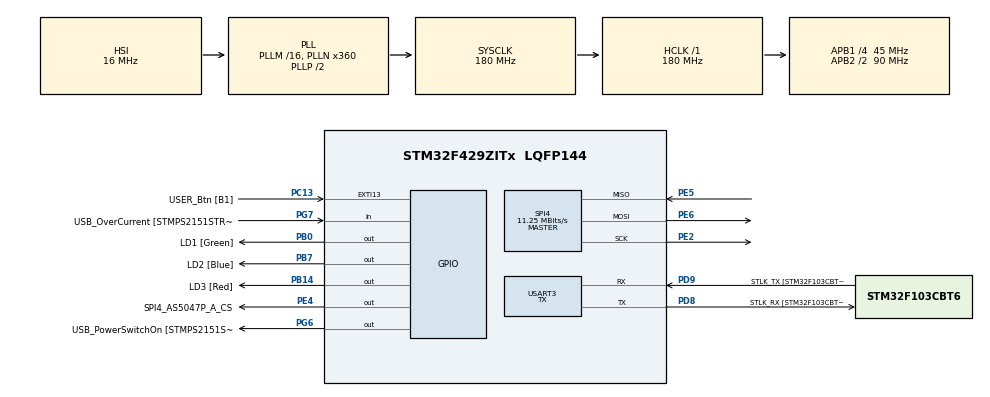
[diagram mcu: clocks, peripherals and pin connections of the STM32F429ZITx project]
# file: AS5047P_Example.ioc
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Mcu.Family=STM32F4
Mcu.Name=STM32F429ZITx
Mcu.Package=LQFP144
NVIC.PriorityGroup=NVIC_PRIORITYGROUP_4
PA1.GPIO_Label=RMII_REF_CLK [LAN8742A-CZ-TR_REFCLK0]
PA1.Signal=ETH_REF_CLK
PA10.GPIO_Label=USB_ID
PA10.Signal=USB_OTG_FS_ID
PA11.GPIO_Label=USB_DM
PA11.Signal=USB_OTG_FS_DM
PA12.GPIO_Label=USB_DP
PA12.Signal=USB_OTG_FS_DP
PA13.GPIO_Label=TMS
PA13.Signal=SYS_JTMS-SWDIO
PA14.GPIO_Label=TCK
PA14.Signal=SYS_JTCK-SWCLK
PA2.GPIO_Label=RMII_MDIO [LAN8742A-CZ-TR_MDIO]
PA2.Signal=ETH_MDIO
PA7.GPIO_Label=RMII_CRS_DV [LAN8742A-CZ-TR_CRS_DV]
PA7.Signal=ETH_CRS_DV
PA8.GPIO_Label=USB_SOF [TP1]
PA8.Signal=USB_OTG_FS_SOF
PA9.GPIO_Label=USB_VBUS
PA9.Signal=USB_OTG_FS_VBUS
PB0.GPIO_Label=LD1 [Green]
PB0.Signal=GPIO_Output
PB13.GPIO_Label=RMII_TXD1 [LAN8742A-CZ-TR_TXD1]
PB13.Signal=ETH_TXD1
PB14.GPIO_Label=LD3 [Red]
PB14.Signal=GPIO_Output
PB7.GPIO_Label=LD2 [Blue]
PB7.Signal=GPIO_Output
PC1.GPIO_Label=RMII_MDC [LAN8742A-CZ-TR_MDC]
PC1.Signal=ETH_MDC
PC13.GPIO_Label=USER_Btn [B1]
PC13.Signal=GPXTI13
PC14/OSC32_IN.Signal=RCC_OSC32_IN
PC15/OSC32_OUT.Signal=RCC_OSC32_OUT
PC4.GPIO_Label=RMII_RXD0 [LAN8742A-CZ-TR_RXD0]
PC4.Signal=ETH_RXD0
PC5.GPIO_Label=RMII_RXD1 [LAN8742A-CZ-TR_RXD1]
PC5.Signal=ETH_RXD1
PD8.GPIO_Label=STLK_RX [STM32F103CBT6_PA3]
PD8.Mode=Asynchronous
PD8.Signal=USART3_TX
PD9.GPIO_Label=STLK_TX [STM32F103CBT6_PA2]
PD9.Mode=Asynchronous
PD9.Signal=USART3_RX
PE2.GPIO_PuPd=GPIO_NOPULL
PE2.GPIO_Speed=GPIO_SPEED_FREQ_VERY_HIGH
PE2.Mode=Full_Duplex_Master
PE2.Signal=SPI4_SCK
PE4.GPIO_Label=SPI4_AS5047P_A_CS
PE4.GPIO_PuPd=GPIO_NOPULL
PE4.GPIO_Speed=GPIO_SPEED_FREQ_VERY_HIGH
PE4.PinState=GPIO_PIN_SET
PE4.Signal=GPIO_Output
PE5.GPIO_PuPd=GPIO_NOPULL
PE5.GPIO_Speed=GPIO_SPEED_FREQ_VERY_HIGH
PE5.Mode=Full_Duplex_Master
PE5.Signal=SPI4_MISO
PE6.GPIO_PuPd=GPIO_NOPULL
PE6.GPIO_Speed=GPIO_SPEED_FREQ_VERY_HIGH
PE6.Mode=Full_Duplex_Master
PE6.Signal=SPI4_MOSI
PG11.GPIO_Label=RMII_TX_EN [LAN8742A-CZ-TR_TXEN]
PG11.Signal=ETH_TX_EN
PG13.GPIO_Label=RMII_TXD0 [LAN8742A-CZ-TR_TXD0]
PG13.Signal=ETH_TXD0
PG6.GPIO_Label=USB_PowerSwitchOn [STMPS2151STR_EN]
PG6.Signal=GPIO_Output
PG7.GPIO_Label=USB_OverCurrent [STMPS2151STR_FAULT]
PG7.Signal=GPIO_Input
PH0/OSC_IN.GPIO_Label=MCO [STM32F103CBT6_PA8]
PH0/OSC_IN.Signal=RCC_OSC_IN
PH1/OSC_OUT.Signal=RCC_OSC_OUT
ProjectManager.HeapSize=0x200
ProjectManager.StackSize=0x400
ProjectManager.TargetToolchain=STM32CubeIDE
RCC.48MHZClocksFreq_Value=90000000
RCC.AHBFreq_Value=180000000
RCC.APB1CLKDivider=RCC_HCLK_DIV4
RCC.APB1Freq_Value=45000000
RCC.APB1TimFreq_Value=90000000
RCC.APB2CLKDivider=RCC_HCLK_DIV2
RCC.APB2Freq_Value=90000000
RCC.APB2TimFreq_Value=180000000
RCC.CortexFreq_Value=180000000
RCC.HCLKFreq_Value=180000000
RCC.HSE_VALUE=8000000
RCC.HSI_VALUE=16000000
RCC.LSE_VALUE=32768
RCC.PLLMUL=RCC_PLL_MUL9
RCC.PLLN=360
RCC.PRESCALERUSB=RCC_USBCLKSOURCE_PLL_DIV1_5
RCC.SYSCLKFreq_VALUE=180000000
RCC.SYSCLKSource=RCC_SYSCLKSOURCE_PLLCLK
RCC.SYSCLKSourceVirtual=RCC_SYSCLKSOURCE_PLLCLK
RCC.USBFreq_Value=48000000
RCC.VCOOutputFreq_Value=360000000
SPI4.BaudRatePrescaler=SPI_BAUDRATEPRESCALER_8
SPI4.CLKPhase=SPI_PHASE_2EDGE
SPI4.CLKPolarity=SPI_POLARITY_LOW
SPI4.CRCCalculation=SPI_CRCCALCULATION_DISABLE
SPI4.CalculateBaudRate=11.25 MBits/s
SPI4.DataSize=SPI_DATASIZE_16BIT
SPI4.Direction=SPI_DIRECTION_2LINES
SPI4.Mode=SPI_MODE_MASTER
SPI4.VirtualType=VM_MASTER
USART3.Mode=MODE_TX
USART3.OverSampling=UART_OVERSAMPLING_8
USART3.VirtualMode=VM_ASYNC
board=NUCLEO-F429ZI

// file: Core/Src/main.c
/* USER CODE BEGIN Header */
/**
  ******************************************************************************
  * @file           : main.c
  * @brief          : Main program body
  ******************************************************************************
  * @attention
  *
  * <h2><center>&copy; Copyright (c) 2020 STMicroelectronics.
  * All rights reserved.</center></h2>
  *
  * This software component is licensed by ST under BSD 3-Clause license,
  * the "License"; You may not use this file except in compliance with the
  * License. You may obtain a copy of the License at:
  *                        opensource.org/licenses/BSD-3-Clause
  *
  ******************************************************************************
  */
/* USER CODE END Header */

#include "main.h"
#include "spi.h"
#include "usart.h"
#include "gpio.h"

/* USER CODE BEGIN Includes */
#include <stdio.h> // printf
#include "as5047p.h"

/* USER CODE END Includes */

/* USER CODE BEGIN PV */

  AS5047P_Instance encInstanceA = {0};
  AS5047P_Result encPositionA;

/* USER CODE END PV */

void SystemClock_Config(void);

/* USER CODE BEGIN 0 */

/************************************************************************************
 *
 * 	Function: 	_write(file,ptr,len)
 * 	Access:		public
 * 	Inputs:		---
 *
 * 	Returns:	---
 *
 * 	Description:
 *	Overloaded function used by printf.
 *
 ************************************************************************************/
int _write(int file, char *ptr, int len)
{

    HAL_UART_Transmit(&huart3, (uint8_t *)ptr, len, HAL_MAX_DELAY);
    return len;
}

/* USER CODE END 0 */

int main(void)
{

  /* MCU Configuration--------------------------------------------------------*/

  /* Reset of all peripherals, Initializes the Flash interface and the Systick. */
  HAL_Init();

  /* Configure the system clock */
  SystemClock_Config();

  /* Initialize all configured peripherals */
  MX_GPIO_Init();
  MX_SPI4_Init();
  MX_USART3_UART_Init();
  /* USER CODE BEGIN 2 */

  //--- Initialize encoder and bind id number to instance.
  AS5047P_Init(&encInstanceA, 0); // Bind encoder with id = 0
  //AS5047P_Init(&encInstanceB, 1); // Bind encoder with id = 1
  //AS5047P_Init(&encInstanceC, 2); // Bind encoder with id = 2 and so on...

  //--- Set registers SETTINGS1, SETTINGS2, ZPOSL, ZPOSM to their factory defaults
  //--- (in this way ignoring OTP memory loaded values).
  AS5047P_SetFactorySettings(&encInstanceA);

  //--- Set current encoder position as new zero (AS5047P_ZPOSL, AS5047P_ZPOSM)
  AS5047P_SetZeroPosition(&encInstanceA);

  /* USER CODE END 2 */

  /* Infinite loop */
   while (1)
   {

    /* USER CODE BEGIN 3 */

     encPositionA = AS5047P_ReadPosition(&encInstanceA, AS5047P_OPT_ENABLED);

     if( !AS5047P_ErrorPending(&encInstanceA) )
     {
	//--- Print current position
	printf("Encoder ID[%d]> Position: %d\n",AS5047P_GetID(&encInstanceA), encPositionA);
     }
     else
     {
	//--- Print error message
	printf("Encoder ID[%d]> Error %d: %s\n",AS5047P_GetID(&encInstanceA),AS5047P_GetError(&encInstanceA).errorCode, AS5047P_GetError(&encInstanceA).msg);
     }

     //--- Acknowledge error if user button pressed
     if( HAL_GPIO_ReadPin(USER_Btn_GPIO_Port, USER_Btn_Pin) )
     {
	 AS5047P_ErrorAck(&encInstanceA);
     }

     //--- Delay 100ms (for printf)
     HAL_Delay(100);

   }
  /* USER CODE END 3 */
}

void SystemClock_Config(void)
{
  RCC_OscInitTypeDef RCC_OscInitStruct = {0};
  RCC_ClkInitTypeDef RCC_ClkInitStruct = {0};

  /** Configure the main internal regulator output voltage
  */
  __HAL_RCC_PWR_CLK_ENABLE();
  __HAL_PWR_VOLTAGESCALING_CONFIG(PWR_REGULATOR_VOLTAGE_SCALE1);
  /** Initializes the CPU, AHB and APB busses clocks
  */
  RCC_OscInitStruct.OscillatorType = RCC_OSCILLATORTYPE_HSI;
  RCC_OscInitStruct.HSIState = RCC_HSI_ON;
  RCC_OscInitStruct.HSICalibrationValue = RCC_HSICALIBRATION_DEFAULT;
  RCC_OscInitStruct.PLL.PLLState = RCC_PLL_ON;
  RCC_OscInitStruct.PLL.PLLSource = RCC_PLLSOURCE_HSI;
  RCC_OscInitStruct.PLL.PLLM = 16;
  RCC_OscInitStruct.PLL.PLLN = 360;
  RCC_OscInitStruct.PLL.PLLP = RCC_PLLP_DIV2;
  RCC_OscInitStruct.PLL.PLLQ = 4;
  if (HAL_RCC_OscConfig(&RCC_OscInitStruct) != HAL_OK)
  {
    Error_Handler();
  }
  /** Activate the Over-Drive mode
  */
  if (HAL_PWREx_EnableOverDrive() != HAL_OK)
  {
    Error_Handler();
  }
  /** Initializes the CPU, AHB and APB busses clocks
  */
  RCC_ClkInitStruct.ClockType = RCC_CLOCKTYPE_HCLK|RCC_CLOCKTYPE_SYSCLK
                              |RCC_CLOCKTYPE_PCLK1|RCC_CLOCKTYPE_PCLK2;
  RCC_ClkInitStruct.SYSCLKSource = RCC_SYSCLKSOURCE_PLLCLK;
  RCC_ClkInitStruct.AHBCLKDivider = RCC_SYSCLK_DIV1;
  RCC_ClkInitStruct.APB1CLKDivider = RCC_HCLK_DIV4;
  RCC_ClkInitStruct.APB2CLKDivider = RCC_HCLK_DIV2;

  if (HAL_RCC_ClockConfig(&RCC_ClkInitStruct, FLASH_LATENCY_5) != HAL_OK)
  {
    Error_Handler();
  }
}

void Error_Handler(void)
{
}

/************************ (C) COPYRIGHT STMicroelectronics *****END OF FILE****/
